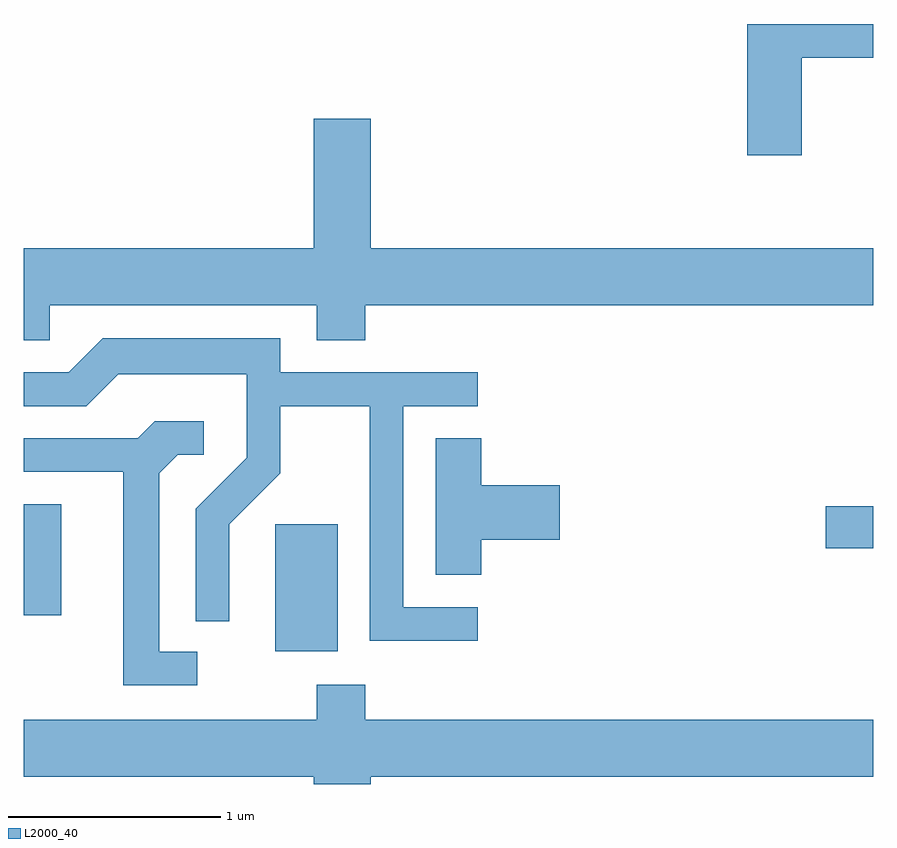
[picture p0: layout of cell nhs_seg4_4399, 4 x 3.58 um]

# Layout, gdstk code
import gdstk
lib = gdstk.Library(unit=1e-6, precision=1e-09)
def R(c, l, rs):  # rectangles x0, y0, x1, y1
    for r in rs: c.add(gdstk.rectangle(r[:2], r[2:], *l))
def P(c, l, *ps):  # polygons
    for p in ps: c.add(gdstk.Polygon(p, *l))
L2000_40 = (2000, 40)

nhs_seg4_4399 = lib.new_cell('nhs_seg4_4399')
R(nhs_seg4_4399, L2000_40, [(314.796,1348.606,315.089,1349.204), (313.611,1348.776,313.789,1349.299), (317.386,1349.091,317.611,1349.289)])
P(nhs_seg4_4399, L2000_40, [(317.274,1351.401),(317.611,1351.401),(317.611,1351.559),(317.016,1351.559),(317.016,1350.941),(317.274,1350.941)],
  [(313.734,1350.236),(314.991,1350.236),(314.991,1350.071),(315.219,1350.071),(315.219,1350.236),(317.611,1350.236),(317.611,1350.504),(315.244,1350.504),(315.244,1351.114),(314.976,1351.114),(314.976,1350.504),(313.611,1350.504),(313.611,1350.071),(313.734,1350.071)],
  [(315.748,1348.814),(315.399,1348.814),(315.399,1349.761),(315.748,1349.761),(315.748,1349.919),(314.819,1349.919),(314.819,1350.079),(313.984,1350.079),(313.824,1349.919),(313.611,1349.919),(313.611,1349.761),(313.907,1349.761),(314.057,1349.911),(314.661,1349.911),(314.661,1349.517),(314.421,1349.277),(314.421,1348.748),(314.579,1348.748),(314.579,1349.204),(314.819,1349.444),(314.819,1349.761),(315.241,1349.761),(315.241,1348.656),(315.748,1348.656)],
  [(314.428,1348.604),(314.249,1348.604),(314.249,1349.444),(314.337,1349.531),(314.458,1349.531),(314.458,1349.689),(314.229,1349.689),(314.149,1349.609),(313.611,1349.609),(313.611,1349.451),(314.081,1349.451),(314.081,1348.446),(314.428,1348.446)],
  [(315.764,1349.131),(316.134,1349.131),(316.134,1349.389),(315.764,1349.389),(315.764,1349.609),(315.551,1349.609),(315.551,1348.966),(315.764,1348.966)],
  [(315.244,1348.016),(317.611,1348.016),(317.611,1348.284),(315.219,1348.284),(315.219,1348.449),(314.991,1348.449),(314.991,1348.284),(313.611,1348.284),(313.611,1348.016),(314.976,1348.016),(314.976,1347.982),(315.244,1347.982)])

lib.write_gds('nhs_seg4_4399.gds')
